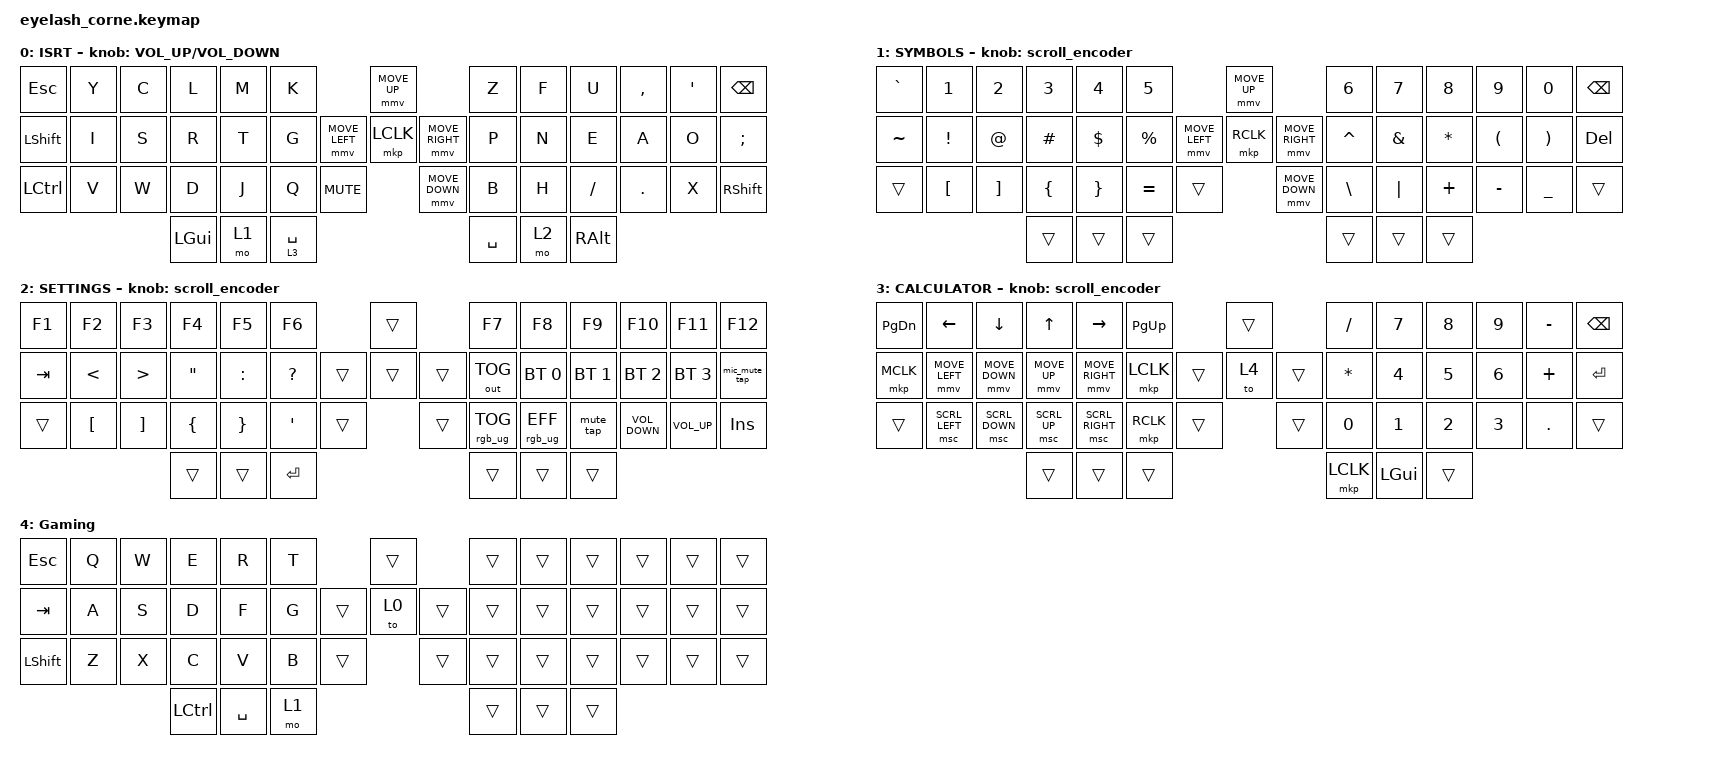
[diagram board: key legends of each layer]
#define ZMK_POINTING_DEFAULT_MOVE_VAL 1200  // 600
#define ZMK_POINTING_DEFAULT_SCRL_VAL 25   // 10

#include <input/processors.dtsi>
#include <zephyr/dt-bindings/input/input-event-codes.h>
#include <behaviors.dtsi>
#include <dt-bindings/zmk/bt.h>
#include <dt-bindings/zmk/keys.h>
#include <dt-bindings/zmk/outputs.h>
#include <dt-bindings/zmk/pointing.h>
#include <dt-bindings/zmk/rgb.h>

&mmv_input_listener { input-processors = <&zip_xy_scaler 2 1>; };

&msc_input_listener { input-processors = <&zip_scroll_scaler 2 1>; };

&msc {
    acceleration-exponent = <1>;      // 0
    time-to-max-speed-ms = <100>;       // 300
    delay-ms = <0>;                   // 0
};

&mmv {
    time-to-max-speed-ms = <500>;
    acceleration-exponent = <1>;
    trigger-period-ms = <16>;
};

&soft_off { hold-time-ms = <2000>; };

/ {
    behaviors {
        td0: td0 {
            compatible = "zmk,behavior-tap-dance";
            display-name = "Shift/Caps Lock Tap Dance";
            #binding-cells = <0>;
            bindings = <&kp LEFT_SHIFT>, <&kp CAPS>;
        };
    };

    rgb_encoder: rgb_encoder {
        compatible = "zmk,behavior-sensor-rotate";
        #sensor-binding-cells = <0>;
        bindings = <&rgb_ug RGB_BRI>, <&rgb_ug RGB_BRD>;
    };

    scroll_encoder: scroll_encoder {
        compatible = "zmk,behavior-sensor-rotate";
        #sensor-binding-cells = <0>;
        bindings = <&msc SCRL_DOWN>, <&msc SCRL_UP>;

        tap-ms = <100>;
    };

    combos {
        compatible = "zmk,combos";

        softoff {
            bindings = <&soft_off>;
            key-positions = <1 15 29>;
        };

        clear-profile {
            bindings = <&bt BT_CLR>;
            key-positions = <46 28 22>;
        };

        ctrl-click {
            bindings = <&mkp MCLK>;
            key-positions = <28 20>;
        };
    };

    macros {
        mute_tap: macro_volume_mute {
            compatible = "zmk,behavior-macro";
            #binding-cells = <0>;
            bindings = <&kp C_MUTE>;
            label = "MACRO_VOLUME_MUTE";
            wait-ms = <30>;
            tap-ms = <30>;
        };

        mic_mute_tap: mic_mute_tap {
            compatible = "zmk,behavior-macro";
            #binding-cells = <0>;
            bindings = <&kp LC(RS(M))>;
            label = "MIC_MUTE_TAP";
            wait-ms = <30>;
            tap-ms = <30>;
        };
    };

    keymap {
        compatible = "zmk,keymap";

        default_layer {
            display-name = "ISRT";
            bindings = <
&kp ESC         &kp Y  &kp C  &kp L     &kp M  &kp K                                      &mmv MOVE_UP                     &kp Z      &kp F  &kp U      &kp COMMA  &kp SQT  &kp BSPC
&kp LEFT_SHIFT  &kp I  &kp S  &kp R     &kp T  &kp G                      &mmv MOVE_LEFT  &mkp LCLK       &mmv MOVE_RIGHT  &kp P      &kp N  &kp E      &kp A      &kp O    &kp SEMICOLON
&kp LCTRL       &kp V  &kp W  &kp D     &kp J  &kp Q        &kp C_MUTE                    &mmv MOVE_DOWN                   &kp B      &kp H  &kp SLASH  &kp DOT    &kp X    &kp RIGHT_SHIFT
                              &kp LGUI  &mo 1  &lt 3 SPACE                                                                 &kp SPACE  &mo 2  &kp RALT
            >;

            sensor-bindings = <&inc_dec_kp C_VOLUME_UP C_VOLUME_DOWN>;
        };

        lower_layer {
            display-name = "SYMBOLS";
            bindings = <
&kp GRAVE  &kp N1            &kp N2             &kp N3          &kp N4           &kp N5                                 &mmv MOVE_UP                     &kp N6         &kp N7         &kp N8        &kp N9                &kp N0                 &kp BSPC
&kp TILDE  &kp EXCLAMATION   &kp AT_SIGN        &kp HASH        &kp DOLLAR       &kp PERCENT            &mmv MOVE_LEFT  &mkp RCLK       &mmv MOVE_RIGHT  &kp CARET      &kp AMPERSAND  &kp ASTERISK  &kp LEFT_PARENTHESIS  &kp RIGHT_PARENTHESIS  &kp DELETE
&trans     &kp LEFT_BRACKET  &kp RIGHT_BRACKET  &kp LEFT_BRACE  &kp RIGHT_BRACE  &kp EQUAL    &trans                    &mmv MOVE_DOWN                   &kp BACKSLASH  &kp PIPE       &kp PLUS      &kp MINUS             &kp UNDERSCORE         &trans
                                                &trans          &trans           &trans                                                                  &trans         &trans         &trans
            >;

            sensor-bindings = <&scroll_encoder>;
        };

        raise_layer {
            display-name = "SETTINGS";
            bindings = <
&kp F1   &kp F2            &kp F3             &kp F4             &kp F5           &kp F6                              &trans          &kp F7           &kp F8           &kp F9        &kp F10            &kp F11          &kp F12
&kp TAB  &kp LESS_THAN     &kp GREATER_THAN   &kp DOUBLE_QUOTES  &kp COLON        &kp QUESTION                &trans  &trans  &trans  &out OUT_TOG     &bt BT_SEL 0     &bt BT_SEL 1  &bt BT_SEL 2       &bt BT_SEL 3     &mic_mute_tap
&trans   &kp LEFT_BRACKET  &kp RIGHT_BRACKET  &kp LEFT_BRACE     &kp RIGHT_BRACE  &kp SINGLE_QUOTE  &trans            &trans          &rgb_ug RGB_TOG  &rgb_ug RGB_EFF  &mute_tap     &kp C_VOLUME_DOWN  &kp C_VOLUME_UP  &kp INSERT
                                              &trans             &trans           &kp ENTER                                           &trans           &trans           &trans
            >;

            sensor-bindings = <&scroll_encoder>;
        };

        layer_3 {
            display-name = "CALCULATOR";
            bindings = <
&kp PAGE_DOWN  &kp LEFT        &kp DOWN        &kp UP        &kp RIGHT        &kp PAGE_UP                    &trans          &kp SLASH     &kp N7        &kp N8  &kp N9  &kp MINUS   &kp BACKSPACE
&mkp MCLK      &mmv MOVE_LEFT  &mmv MOVE_DOWN  &mmv MOVE_UP  &mmv MOVE_RIGHT  &mkp LCLK              &trans  &to 4   &trans  &kp ASTERISK  &kp N4        &kp N5  &kp N6  &kp PLUS    &kp ENTER
&trans         &msc SCRL_LEFT  &msc SCRL_DOWN  &msc SCRL_UP  &msc SCRL_RIGHT  &mkp RCLK    &trans            &trans          &kp N0        &kp N1        &kp N2  &kp N3  &kp PERIOD  &trans
                                               &trans        &trans           &trans                                         &mkp LCLK     &kp LEFT_GUI  &trans
            >;

            sensor-bindings = <&scroll_encoder>;
        };

        Gaming {
            bindings = <
&kp ESCAPE  &kp Q  &kp W  &kp E      &kp R      &kp T                    &trans          &trans  &trans  &trans  &trans  &trans  &trans
&kp TAB     &kp A  &kp S  &kp D      &kp F      &kp G            &trans  &to 0   &trans  &trans  &trans  &trans  &trans  &trans  &trans
&kp LSHIFT  &kp Z  &kp X  &kp C      &kp V      &kp B  &trans            &trans          &trans  &trans  &trans  &trans  &trans  &trans
                          &kp LCTRL  &kp SPACE  &mo 1                                    &trans  &trans  &trans
            >;
        };
    };
};
